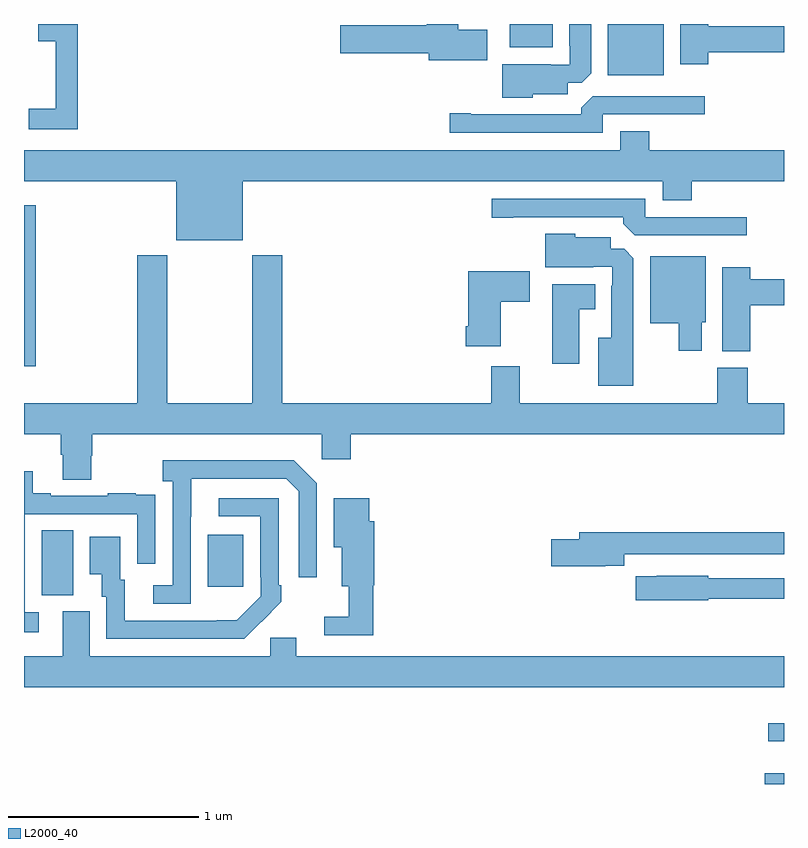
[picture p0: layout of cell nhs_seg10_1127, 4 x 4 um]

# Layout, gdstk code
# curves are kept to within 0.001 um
import gdstk
lib = gdstk.Library(unit=1e-6, precision=1e-09)
def R(c, l, rs):  # rectangles x0, y0, x1, y1
    for r in rs: c.add(gdstk.rectangle(r[:2], r[2:], *l))
def P(c, l, *ps):  # polygons
    for p in ps: c.add(gdstk.Polygon(p, *l))
L2000_40 = (2000, 40)

nhs_seg10_1127 = lib.new_cell('nhs_seg10_1127')
R(nhs_seg10_1127, L2000_40, [(172.898,1274.5,173,1274.557), (172.917,1274.724,173,1274.82), (169.094,1275.493,169.258,1275.836), (169.967,1275.537,170.155,1275.811), (169,1276.698,169.061,1277.545), (172.073,1278.23,172.366,1278.5), (171.557,1278.377,171.784,1278.5)])
P(nhs_seg10_1127, L2000_40, [(172.601,1278.352),(173,1278.352),(173,1278.488),(172.601,1278.488),(172.601,1278.5),(172.454,1278.5),(172.454,1278.288),(172.601,1278.288)],
  [(171.678,1278.131),(171.862,1278.131),(171.862,1278.192),(171.936,1278.192),(171.985,1278.241),(171.985,1278.5),(171.869,1278.5),(171.869,1278.385),(171.873,1278.385),(171.873,1278.285),(171.773,1278.285),(171.773,1278.289),(171.518,1278.289),(171.518,1278.113),(171.678,1278.113)],
  [(171.439,1278.471),(171.286,1278.471),(171.286,1278.5),(171.119,1278.5),(171.119,1278.494),(170.664,1278.494),(170.664,1278.347),(171.131,1278.347),(171.131,1278.308),(171.439,1278.308)],
  [(169.283,1278.5),(169.076,1278.5),(169.076,1278.41),(169.166,1278.41),(169.166,1278.055),(169.026,1278.055),(169.026,1277.946),(169.283,1277.946)],
  [(172.047,1278.024),(172.582,1278.024),(172.582,1278.12),(171.993,1278.12),(171.932,1278.058),(171.932,1278.024),(171.352,1278.024),(171.352,1278.029),(171.24,1278.029),(171.24,1277.928),(172.047,1277.928)],
  [(170.152,1277.672),(172.361,1277.672),(172.361,1277.573),(172.514,1277.573),(172.514,1277.672),(173,1277.672),(173,1277.836),(172.292,1277.836),(172.292,1277.935),(172.139,1277.935),(172.139,1277.836),(169,1277.836),(169,1277.672),(169.802,1277.672),(169.802,1277.363),(170.152,1277.363)],
  [(172.804,1277.484),(172.269,1277.484),(172.269,1277.58),(171.462,1277.58),(171.462,1277.479),(171.574,1277.479),(171.574,1277.484),(172.154,1277.484),(172.154,1277.45),(172.215,1277.388),(172.804,1277.388)],
  [(172.207,1277.267),(172.158,1277.316),(172.087,1277.316),(172.087,1277.377),(171.9,1277.377),(171.9,1277.395),(171.743,1277.395),(171.743,1277.219),(171.995,1277.219),(171.995,1277.223),(172.095,1277.223),(172.095,1277.123),(172.091,1277.123),(172.091,1276.849),(172.022,1276.849),(172.022,1276.595),(172.207,1276.595)],
  [(170.568,1276.209),(170.72,1276.209),(170.72,1276.34),(173,1276.34),(173,1276.504),(172.808,1276.504),(172.808,1276.692),(172.648,1276.692),(172.648,1276.504),(171.61,1276.504),(171.61,1276.699),(171.458,1276.699),(171.458,1276.504),(170.36,1276.504),(170.36,1277.284),(170.2,1277.284),(170.2,1276.504),(169.755,1276.504),(169.755,1277.284),(169.595,1277.284),(169.595,1276.504),(169,1276.504),(169,1276.34),(169.193,1276.34),(169.193,1276.234),(169.205,1276.234),(169.205,1276.102),(169.353,1276.102),(169.353,1276.227),(169.358,1276.227),(169.358,1276.34),(170.568,1276.34)],
  [(172.567,1276.929),(172.588,1276.929),(172.588,1277.278),(172.295,1277.278),(172.295,1276.925),(172.445,1276.925),(172.445,1276.779),(172.567,1276.779)],
  [(172.823,1277.02),(173,1277.02),(173,1277.156),(172.823,1277.156),(172.823,1277.221),(172.676,1277.221),(172.676,1276.777),(172.823,1276.777)],
  [(171.508,1277.038),(171.661,1277.038),(171.661,1277.2),(171.338,1277.2),(171.338,1276.909),(171.326,1276.909),(171.326,1276.805),(171.508,1276.805)],
  [(171.922,1277),(172.006,1277),(172.006,1277.131),(171.779,1277.131),(171.779,1276.713),(171.922,1276.713)],
  [(169.878,1275.907),(169.879,1276.107),(170.379,1276.107),(170.445,1276.041),(170.445,1275.588),(170.541,1275.588),(170.541,1276.083),(170.42,1276.204),(169.731,1276.204),(169.731,1276.094),(169.782,1276.094),(169.782,1275.546),(169.68,1275.546),(169.68,1275.45),(169.878,1275.45)],
  [(169.078,1275.405),(169.005,1275.405),(169.005,1275.921),(169.596,1275.921),(169.596,1275.66),(169.692,1275.66),(169.692,1275.914),(169.691,1275.914),(169.691,1276.023),(169.589,1276.023),(169.589,1276.03),(169.441,1276.03),(169.441,1276.017),(169.141,1276.017),(169.141,1276.03),(169.045,1276.03),(169.045,1276.147),(169,1276.147),(169,1275.3),(169.078,1275.3)],
  [(170.249,1275.355),(170.25,1275.354),(170.355,1275.459),(170.355,1275.547),(170.34,1275.547),(170.34,1276.005),(170.025,1276.005),(170.025,1275.909),(170.244,1275.909),(170.244,1275.589),(170.247,1275.589),(170.247,1275.489),(170.119,1275.361),(169.531,1275.36),(169.531,1275.576),(169.507,1275.576),(169.507,1275.802),(169.346,1275.802),(169.346,1275.605),(169.409,1275.605),(169.409,1275.486),(169.434,1275.486),(169.434,1275.264),(170.158,1275.264)],
  [(170.837,1275.546),(170.843,1275.546),(170.843,1275.882),(170.818,1275.882),(170.818,1276.003),(170.63,1276.003),(170.63,1275.746),(170.672,1275.746),(170.672,1275.542),(170.709,1275.542),(170.709,1275.379),(170.58,1275.379),(170.58,1275.282),(170.837,1275.282)],
  [(172.058,1275.648),(172.16,1275.648),(172.16,1275.708),(173,1275.708),(173,1275.824),(171.923,1275.824),(171.923,1275.788),(171.774,1275.788),(171.774,1275.646),(172.058,1275.646)],
  [(172.602,1275.474),(173,1275.474),(173,1275.582),(172.602,1275.582),(172.602,1275.595),(172.33,1275.595),(172.33,1275.593),(172.219,1275.593),(172.219,1275.466),(172.602,1275.466)],
  [(173,1275.172),(170.434,1275.172),(170.434,1275.27),(170.295,1275.27),(170.295,1275.172),(169.345,1275.172),(169.345,1275.408),(169.205,1275.408),(169.205,1275.172),(169,1275.172),(169,1275.008),(173,1275.008)])

lib.write_gds('nhs_seg10_1127.gds')
